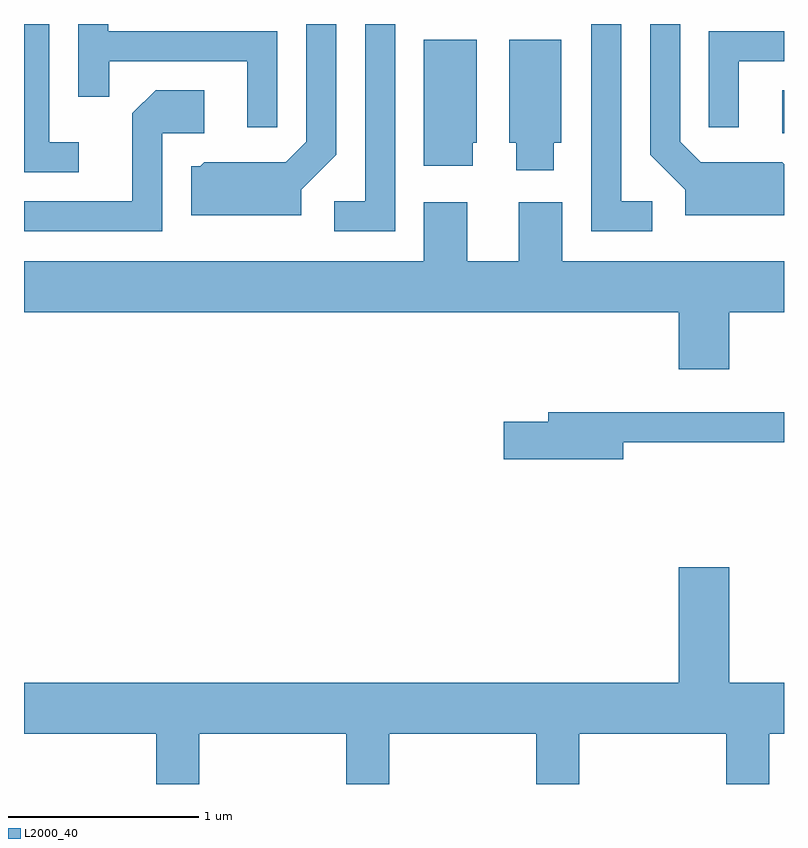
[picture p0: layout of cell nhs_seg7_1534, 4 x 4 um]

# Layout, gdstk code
import gdstk
lib = gdstk.Library(unit=1e-6, precision=1e-09)
def R(c, l, rs):  # rectangles x0, y0, x1, y1
    for r in rs: c.add(gdstk.rectangle(r[:2], r[2:], *l))
def P(c, l, *ps):  # polygons
    for p in ps: c.add(gdstk.Polygon(p, *l))
L2000_40 = (2000, 40)

nhs_seg7_1534 = lib.new_cell('nhs_seg7_1534')
R(nhs_seg7_1534, L2000_40, [(235.601,1739.676,235.611,1739.904)])
P(nhs_seg7_1534, L2000_40, [(232.944,1740.214),(232.054,1740.214),(232.054,1740.252),(231.896,1740.252),(231.896,1739.868),(232.059,1739.868),(232.059,1740.056),(232.786,1740.056),(232.786,1739.708),(232.944,1739.708)],
  [(233.069,1739.379),(233.254,1739.564),(233.254,1740.252),(233.096,1740.252),(233.096,1739.632),(232.989,1739.524),(232.559,1739.524),(232.539,1739.504),(232.491,1739.504),(232.491,1739.246),(233.069,1739.246)],
  [(231.898,1739.629),(231.744,1739.629),(231.744,1740.252),(231.611,1740.252),(231.611,1739.471),(231.898,1739.471)],
  [(235.611,1739.515),(235.602,1739.524),(235.172,1739.524),(235.064,1739.632),(235.064,1740.252),(234.906,1740.252),(234.906,1739.564),(235.091,1739.379),(235.091,1739.246),(235.611,1739.246)],
  [(234.918,1739.319),(234.754,1739.319),(234.754,1740.252),(234.596,1740.252),(234.596,1739.161),(234.918,1739.161)],
  [(233.564,1740.252),(233.406,1740.252),(233.406,1739.319),(233.243,1739.319),(233.243,1739.161),(233.564,1739.161)],
  [(235.374,1740.056),(235.611,1740.056),(235.611,1740.214),(235.216,1740.214),(235.216,1739.708),(235.374,1739.708)],
  [(233.974,1739.626),(233.994,1739.626),(233.994,1740.169),(233.716,1740.169),(233.716,1739.506),(233.974,1739.506)],
  [(234.399,1739.626),(234.439,1739.626),(234.439,1740.169),(234.166,1740.169),(234.166,1739.626),(234.201,1739.626),(234.201,1739.481),(234.399,1739.481)],
  [(232.339,1739.676),(232.559,1739.676),(232.559,1739.904),(232.304,1739.904),(232.181,1739.782),(232.181,1739.319),(231.611,1739.319),(231.611,1739.161),(232.339,1739.161)],
  [(235.324,1738.736),(235.611,1738.736),(235.611,1739.004),(234.444,1739.004),(234.444,1739.314),(234.216,1739.314),(234.216,1739.004),(233.944,1739.004),(233.944,1739.314),(233.716,1739.314),(233.716,1739.004),(231.611,1739.004),(231.611,1738.736),(235.056,1738.736),(235.056,1738.436),(235.324,1738.436)],
  [(234.764,1738.051),(235.611,1738.051),(235.611,1738.209),(234.371,1738.209),(234.371,1738.159),(234.136,1738.159),(234.136,1737.961),(234.764,1737.961)],
  [(232.534,1736.516),(233.306,1736.516),(233.306,1736.252),(233.534,1736.252),(233.534,1736.516),(234.306,1736.516),(234.306,1736.252),(234.534,1736.252),(234.534,1736.516),(235.306,1736.516),(235.306,1736.252),(235.534,1736.252),(235.534,1736.516),(235.611,1736.516),(235.611,1736.784),(235.324,1736.784),(235.324,1737.394),(235.056,1737.394),(235.056,1736.784),(231.611,1736.784),(231.611,1736.516),(232.306,1736.516),(232.306,1736.252),(232.534,1736.252)])

lib.write_gds('nhs_seg7_1534.gds')
